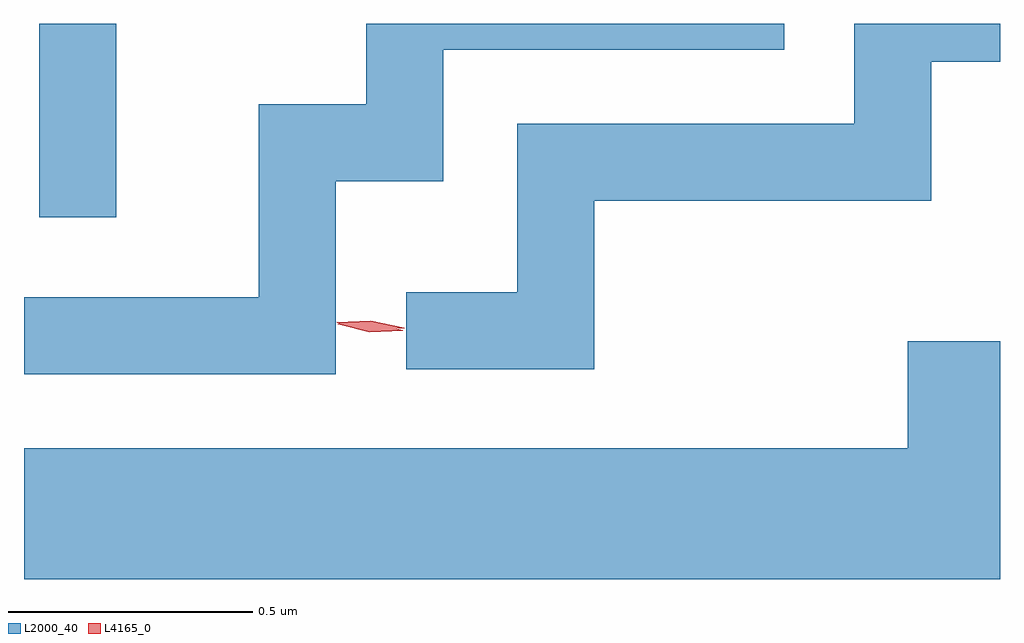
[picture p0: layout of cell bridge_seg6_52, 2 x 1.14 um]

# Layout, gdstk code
import gdstk
lib = gdstk.Library(unit=1e-6, precision=1e-09)
def R(c, l, rs):  # rectangles x0, y0, x1, y1
    for r in rs: c.add(gdstk.rectangle(r[:2], r[2:], *l))
def P(c, l, *ps):  # polygons
    for p in ps: c.add(gdstk.Polygon(p, *l))
L2000_40 = (2000, 40)
L4165_0 = (4165, 0)

bridge_seg6_52 = lib.new_cell('bridge_seg6_52')
R(bridge_seg6_52, L2000_40, [(1506.341,1548.558,1506.499,1548.954)])
P(bridge_seg6_52, L2000_40, [(1507.479,1548.591),(1508.169,1548.591),(1508.169,1548.876),(1508.31,1548.876),(1508.31,1548.954),(1508.011,1548.954),(1508.011,1548.749),(1507.321,1548.749),(1507.321,1548.404),(1507.093,1548.404),(1507.093,1548.246),(1507.479,1548.246)],
  [(1506.949,1548.631),(1507.169,1548.631),(1507.169,1548.901),(1507.868,1548.901),(1507.868,1548.954),(1507.011,1548.954),(1507.011,1548.789),(1506.791,1548.789),(1506.791,1548.394),(1506.31,1548.394),(1506.31,1548.236),(1506.949,1548.236)],
  [(1508.31,1548.304),(1508.121,1548.304),(1508.121,1548.084),(1506.31,1548.084),(1506.31,1547.816),(1508.31,1547.816)])
P(bridge_seg6_52, L4165_0, [(1507.019,1548.322),(1506.954,1548.338),(1506.953,1548.338),(1506.954,1548.339),(1507.021,1548.342),(1507.086,1548.326),(1507.086,1548.325),(1507.086,1548.325)],
  [(1507.02,1548.326),(1506.952,1548.341),(1506.951,1548.342),(1506.952,1548.342),(1507.021,1548.346),(1507.089,1548.331),(1507.09,1548.33),(1507.089,1548.33)])

lib.write_gds('bridge_seg6_52.gds')
